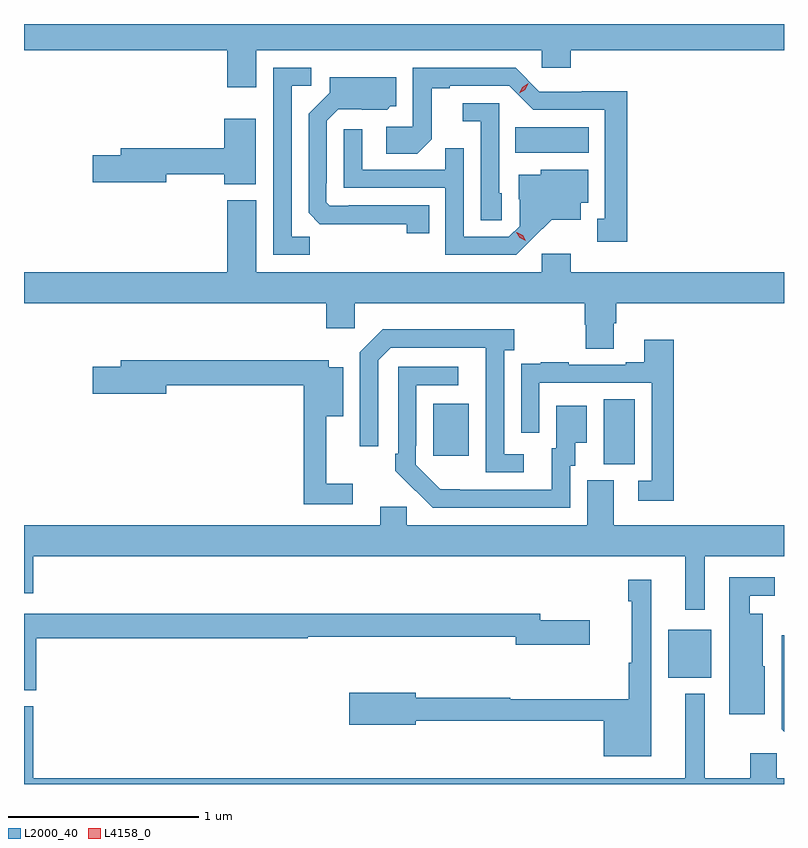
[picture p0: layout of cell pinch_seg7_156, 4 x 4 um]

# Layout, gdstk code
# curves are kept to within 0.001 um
import gdstk
lib = gdstk.Library(unit=1e-6, precision=1e-09)
def R(c, l, rs):  # rectangles x0, y0, x1, y1
    for r in rs: c.add(gdstk.rectangle(r[:2], r[2:], *l))
def P(c, l, *ps):  # polygons
    for p in ps: c.add(gdstk.Polygon(p, *l))
L2000_40 = (2000, 40)
L4158_0 = (4158, 0)

pinch_seg7_156 = lib.new_cell('pinch_seg7_156')
R(pinch_seg7_156, L2000_40, [(1049.261,1026.617,1049.488,1026.871), (1048.922,1027.741,1049.086,1028.084), (1048.025,1027.785,1048.213,1028.059), (1048.456,1029.38,1048.843,1029.514)])
P(pinch_seg7_156, L2000_40, [(1047.094,1029.92),(1048.596,1029.92),(1048.596,1029.827),(1048.748,1029.827),(1048.748,1029.92),(1049.871,1029.92),(1049.871,1030.058),(1045.871,1030.058),(1045.871,1029.92),(1046.942,1029.92),(1046.942,1029.726),(1047.094,1029.726)],
  [(1047.375,1028.939),(1047.279,1028.939),(1047.279,1029.732),(1047.382,1029.732),(1047.382,1029.828),(1047.183,1029.828),(1047.183,1028.844),(1047.375,1028.844)],
  [(1049.047,1029.704),(1048.806,1029.704),(1048.806,1029.702),(1048.584,1029.702),(1048.458,1029.828),(1047.918,1029.828),(1047.918,1029.516),(1047.777,1029.516),(1047.777,1029.376),(1047.941,1029.376),(1048.017,1029.452),(1048.017,1029.72),(1048.111,1029.72),(1048.111,1029.732),(1048.425,1029.732),(1048.551,1029.606),(1048.928,1029.606),(1048.928,1029.033),(1048.889,1029.033),(1048.889,1028.913),(1049.047,1028.913)],
  [(1048.004,1029.105),(1047.58,1029.105),(1047.58,1029.102),(1047.48,1029.102),(1047.462,1029.12),(1047.462,1029.22),(1047.465,1029.22),(1047.465,1029.549),(1047.525,1029.609),(1047.782,1029.608),(1047.798,1029.624),(1047.829,1029.624),(1047.829,1029.778),(1047.479,1029.778),(1047.479,1029.696),(1047.369,1029.586),(1047.369,1029.064),(1047.428,1029.005),(1047.886,1029.004),(1047.886,1028.958),(1048.004,1028.958)],
  [(1048.386,1029.168),(1048.371,1029.168),(1048.371,1029.642),(1048.179,1029.642),(1048.179,1029.545),(1048.275,1029.545),(1048.275,1029.025),(1048.386,1029.025)],
  [(1047.091,1029.559),(1046.924,1029.559),(1046.924,1029.404),(1046.381,1029.404),(1046.381,1029.368),(1046.232,1029.368),(1046.232,1029.226),(1046.62,1029.226),(1046.62,1029.268),(1046.924,1029.268),(1046.924,1029.215),(1047.091,1029.215)],
  [(1048.546,1028.927),(1048.649,1029.029),(1048.801,1029.029),(1048.801,1029.116),(1048.84,1029.116),(1048.84,1029.292),(1048.59,1029.292),(1048.59,1029.265),(1048.475,1029.265),(1048.475,1029.136),(1048.479,1029.136),(1048.479,1028.994),(1048.422,1028.937),(1048.185,1028.937),(1048.185,1029.404),(1048.087,1029.404),(1048.087,1029.291),(1047.651,1029.291),(1047.651,1029.505),(1047.555,1029.505),(1047.555,1029.195),(1048.089,1029.195),(1048.089,1028.844),(1048.462,1028.844)],
  [(1048.975,1028.482),(1048.988,1028.482),(1048.988,1028.588),(1049.871,1028.588),(1049.871,1028.752),(1048.748,1028.752),(1048.748,1028.848),(1048.596,1028.848),(1048.596,1028.752),(1047.094,1028.752),(1047.094,1029.13),(1046.942,1029.13),(1046.942,1028.752),(1045.871,1028.752),(1045.871,1028.588),(1047.461,1028.588),(1047.461,1028.457),(1047.612,1028.457),(1047.612,1028.588),(1048.823,1028.588),(1048.823,1028.475),(1048.828,1028.475),(1048.828,1028.35),(1048.975,1028.35)],
  [(1048.501,1027.794),(1048.398,1027.794),(1048.398,1028.342),(1048.45,1028.342),(1048.45,1028.452),(1047.76,1028.452),(1047.639,1028.331),(1047.639,1027.836),(1047.735,1027.836),(1047.735,1028.289),(1047.801,1028.355),(1048.301,1028.355),(1048.302,1027.698),(1048.501,1027.698)],
  [(1049.291,1028.395),(1049.135,1028.395),(1049.135,1028.278),(1049.039,1028.278),(1049.039,1028.265),(1048.739,1028.265),(1048.739,1028.278),(1048.591,1028.278),(1048.591,1028.271),(1048.489,1028.271),(1048.489,1028.162),(1048.488,1028.162),(1048.488,1027.908),(1048.584,1027.908),(1048.584,1028.169),(1049.175,1028.169),(1049.175,1027.653),(1049.103,1027.653),(1049.103,1027.548),(1049.291,1027.548)],
  [(1047.601,1027.639),(1047.461,1027.639),(1047.461,1027.994),(1047.55,1027.994),(1047.55,1028.251),(1047.474,1028.251),(1047.474,1028.287),(1046.381,1028.287),(1046.381,1028.253),(1046.232,1028.253),(1046.232,1028.111),(1046.62,1028.111),(1046.62,1028.158),(1047.343,1028.158),(1047.343,1027.53),(1047.601,1027.53)],
  [(1048.746,1027.734),(1048.771,1027.734),(1048.771,1027.853),(1048.834,1027.853),(1048.834,1028.05),(1048.673,1028.05),(1048.673,1027.824),(1048.649,1027.824),(1048.649,1027.608),(1048.062,1027.609),(1047.933,1027.737),(1047.933,1027.837),(1047.936,1027.837),(1047.936,1028.157),(1048.156,1028.157),(1048.156,1028.253),(1047.84,1028.253),(1047.84,1027.795),(1047.825,1027.795),(1047.825,1027.707),(1048.022,1027.512),(1048.746,1027.512)],
  [(1048.835,1027.656),(1048.835,1027.42),(1047.885,1027.42),(1047.885,1027.518),(1047.746,1027.518),(1047.746,1027.42),(1045.871,1027.42),(1045.871,1027.062),(1045.919,1027.062),(1045.919,1027.256),(1049.351,1027.256),(1049.351,1026.975),(1049.455,1026.975),(1049.455,1027.256),(1049.871,1027.256),(1049.871,1027.42),(1048.975,1027.42),(1048.975,1027.656)],
  [(1049.77,1026.678),(1049.758,1026.678),(1049.758,1026.955),(1049.692,1026.955),(1049.692,1027.05),(1049.821,1027.05),(1049.821,1027.146),(1049.583,1027.146),(1049.583,1026.867),(1049.582,1026.867),(1049.582,1026.425),(1049.77,1026.425)],
  [(1049.173,1027.132),(1049.052,1027.132),(1049.052,1027.019),(1049.069,1027.019),(1049.069,1026.695),(1049.054,1026.695),(1049.054,1026.503),(1048.43,1026.503),(1048.43,1026.511),(1047.934,1026.511),(1047.934,1026.537),(1047.582,1026.537),(1047.582,1026.371),(1047.934,1026.371),(1047.934,1026.39),(1048.922,1026.39),(1048.922,1026.203),(1049.173,1026.203)],
  [(1045.936,1026.826),(1047.364,1026.826),(1047.364,1026.834),(1048.46,1026.834),(1048.46,1026.791),(1048.849,1026.791),(1048.849,1026.921),(1048.588,1026.921),(1048.588,1026.955),(1045.871,1026.955),(1045.871,1026.551),(1045.936,1026.551)],
  [(1049.871,1026.841),(1049.859,1026.841),(1049.859,1026.345),(1049.871,1026.333)],
  [(1049.871,1026.088),(1049.832,1026.088),(1049.832,1026.22),(1049.693,1026.22),(1049.693,1026.088),(1049.455,1026.088),(1049.455,1026.532),(1049.351,1026.532),(1049.351,1026.088),(1045.919,1026.088),(1045.919,1026.466),(1045.871,1026.466),(1045.871,1026.058),(1049.871,1026.058)])
P(pinch_seg7_156, L4158_0, [(1048.477,1029.693),(1048.477,1029.694),(1048.494,1029.726),(1048.526,1029.745),(1048.526,1029.745),(1048.526,1029.745),(1048.509,1029.712),(1048.477,1029.693)],
  [(1048.512,1028.917),(1048.481,1028.932),(1048.463,1028.962),(1048.463,1028.962),(1048.464,1028.962),(1048.495,1028.947),(1048.512,1028.918),(1048.512,1028.917)])

lib.write_gds('pinch_seg7_156.gds')
